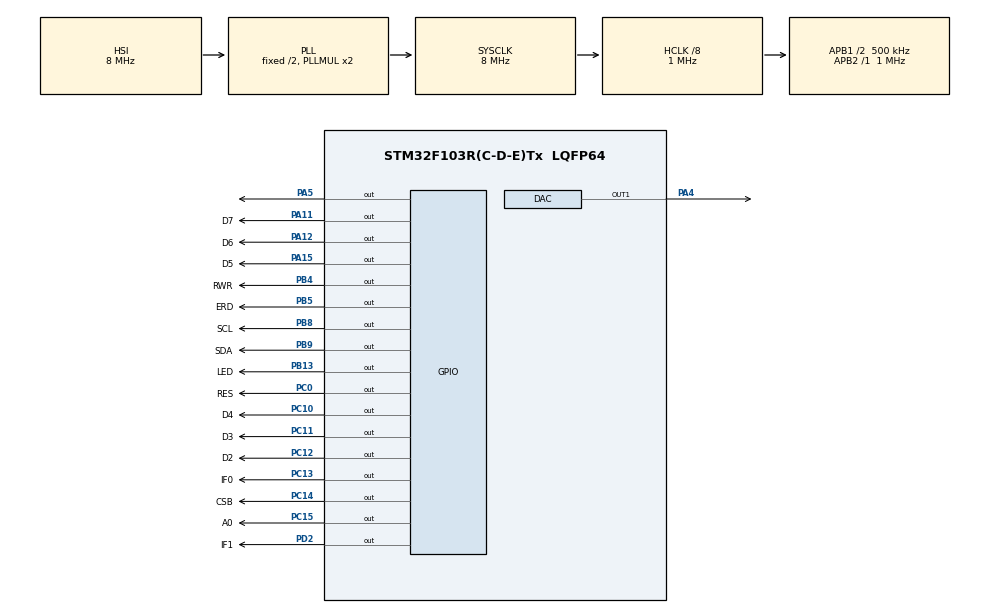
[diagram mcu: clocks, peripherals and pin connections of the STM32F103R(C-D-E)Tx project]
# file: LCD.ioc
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DAC.DAC_OutputBuffer=DAC_OUTPUTBUFFER_DISABLE
DAC.DAC_Trigger=DAC_TRIGGER_T6_TRGO
Dma.DAC_CH1.0.Direction=DMA_MEMORY_TO_PERIPH
Dma.DAC_CH1.0.Instance=DMA2_Channel3
Dma.DAC_CH1.0.MemDataAlignment=DMA_MDATAALIGN_WORD
Dma.DAC_CH1.0.MemInc=DMA_MINC_ENABLE
Dma.DAC_CH1.0.Mode=DMA_CIRCULAR
Dma.DAC_CH1.0.PeriphDataAlignment=DMA_PDATAALIGN_WORD
Dma.DAC_CH1.0.PeriphInc=DMA_PINC_DISABLE
Dma.DAC_CH1.0.Priority=DMA_PRIORITY_LOW
Dma.Request0=DAC_CH1
Mcu.Family=STM32F1
Mcu.Name=STM32F103R(C-D-E)Tx
Mcu.Package=LQFP64
NVIC.DMA2_Channel3_IRQn=true\:0\:0\:false\:false\:true\:false\:true
NVIC.PriorityGroup=NVIC_PRIORITYGROUP_4
PA11.GPIO_Label=D7
PA11.Signal=GPIO_Output
PA12.GPIO_Label=D6
PA12.Signal=GPIO_Output
PA13.Mode=Serial_Wire
PA13.Signal=SYS_JTMS-SWDIO
PA14.Mode=Serial_Wire
PA14.Signal=SYS_JTCK-SWCLK
PA15.GPIO_Label=D5
PA15.Signal=GPIO_Output
PA4.Signal=COMP_DAC1_group
PA5.Signal=GPIO_Output
PB13.GPIO_Label=LED
PB13.GPIO_PuPd=GPIO_PULLUP
PB13.Signal=GPIO_Output
PB3.Signal=SPI1_SCK
PB4.GPIO_Label=RWR
PB4.GPIO_ModeDefaultOutputPP=GPIO_MODE_OUTPUT_OD
PB4.GPIO_PuPd=GPIO_PULLUP
PB4.Signal=GPIO_Output
PB5.GPIO_Label=ERD
PB5.GPIO_ModeDefaultOutputPP=GPIO_MODE_OUTPUT_OD
PB5.GPIO_PuPd=GPIO_PULLUP
PB5.Signal=GPIO_Output
PB8.GPIO_Label=SCL
PB8.GPIO_ModeDefaultOutputPP=GPIO_MODE_OUTPUT_PP
PB8.GPIO_PuPd=GPIO_PULLUP
PB8.Signal=GPIO_Output
PB9.GPIO_Label=SDA
PB9.GPIO_ModeDefaultOutputPP=GPIO_MODE_OUTPUT_PP
PB9.GPIO_PuPd=GPIO_PULLUP
PB9.Signal=GPIO_Output
PC0.GPIO_Label=RES
PC0.GPIO_ModeDefaultOutputPP=GPIO_MODE_OUTPUT_PP
PC0.GPIO_PuPd=GPIO_PULLUP
PC0.Signal=GPIO_Output
PC10.GPIO_Label=D4
PC10.Signal=GPIO_Output
PC11.GPIO_Label=D3
PC11.Signal=GPIO_Output
PC12.GPIO_Label=D2
PC12.Signal=GPIO_Output
PC13-TAMPER-RTC.GPIO_Label=IF0
PC13-TAMPER-RTC.GPIO_ModeDefaultOutputPP=GPIO_MODE_OUTPUT_OD
PC13-TAMPER-RTC.GPIO_PuPd=GPIO_PULLUP
PC13-TAMPER-RTC.Signal=GPIO_Output
PC14-OSC32_IN.GPIO_Label=CSB
PC14-OSC32_IN.GPIO_ModeDefaultOutputPP=GPIO_MODE_OUTPUT_PP
PC14-OSC32_IN.GPIO_PuPd=GPIO_PULLUP
PC14-OSC32_IN.Signal=GPIO_Output
PC14-OSC32_IN.Stacked=true
PC15-OSC32_OUT.GPIO_Label=A0
PC15-OSC32_OUT.GPIO_ModeDefaultOutputPP=GPIO_MODE_OUTPUT_PP
PC15-OSC32_OUT.GPIO_PuPd=GPIO_PULLUP
PC15-OSC32_OUT.Signal=GPIO_Output
PD2.GPIO_Label=IF1
PD2.GPIO_ModeDefaultOutputPP=GPIO_MODE_OUTPUT_OD
PD2.GPIO_PuPd=GPIO_PULLUP
PD2.Signal=GPIO_Output
ProjectManager.HeapSize=0x200
ProjectManager.StackSize=0x400
ProjectManager.TargetToolchain=MDK-ARM V5.32
RCC.AHBCLKDivider=RCC_SYSCLK_DIV8
RCC.AHBFreq_Value=1000000
RCC.APB1CLKDivider=RCC_HCLK_DIV2
RCC.APB1Freq_Value=500000
RCC.APB1TimFreq_Value=1000000
RCC.APB2Freq_Value=1000000
RCC.APB2TimFreq_Value=1000000
RCC.HCLKFreq_Value=1000000
RCC.SYSCLKFreq_VALUE=8000000
RCC.SYSCLKSource=RCC_SYSCLKSOURCE_PLLCLK
RCC.USBFreq_Value=8000000
SH.COMP_DAC1_group.0=DAC_OUT1,DAC_OUT1
TIM2.Period=63
TIM2.Prescaler=99
TIM2.TIM_MasterOutputTrigger=TIM_TRGO_UPDATE
TIM4.Period=999
TIM4.TIM_MasterOutputTrigger=TIM_TRGO_UPDATE
TIM6.Period=999
TIM6.Prescaler=9
TIM6.TIM_MasterOutputTrigger=TIM_TRGO_UPDATE
VP_TIM2_VS_ClockSourceINT.Mode=Internal
VP_TIM4_VS_ClockSourceINT.Mode=Internal
VP_TIM6_VS_ClockSourceINT.Mode=Enable_Timer
board=custom

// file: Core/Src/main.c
/* USER CODE BEGIN Header */
/**
  ******************************************************************************
  * @file           : main.c
  * @brief          : Main program body
  ******************************************************************************
  * @attention
  *
  * <h2><center>&copy; Copyright (c) 2025 STMicroelectronics.
  * All rights reserved.</center></h2>
  *
  * This software component is licensed by ST under BSD 3-Clause license,
  * the "License"; You may not use this file except in compliance with the
  * License. You may obtain a copy of the License at:
  *                        opensource.org/licenses/BSD-3-Clause
  *
  ******************************************************************************
  */
/* USER CODE END Header */
#include "main.h"

/* USER CODE BEGIN Includes */
#include "ST75161.h"
#include "stdio.h"

/* USER CODE END Includes */

/* USER CODE BEGIN PTD */
extern const  uint8_t font5x7[][5] ;
extern const uint8_t font5x7_italic[][5];
extern const uint8_t font7x9[][7];
extern const uint8_t font5x7_small[][5];
extern unsigned char  logo[];
extern uint8_t dog_icon[16 * 16];
extern const unsigned char epd_bitmap_horse [];
extern const unsigned char grayhorse [];
extern const unsigned char image_data[];
extern const uint16_t font5x7_GRAY[][5];

/* USER CODE END PTD */

/* USER CODE BEGIN PM */
char LCDString[50],Lcd_char;
int number=0;
uint8_t grayLevel=1;
uint16_t font5x7_gray[96][5]; // Assuming 96 characters from space to ~
uint32_t sine_val[2]={0,4095};

/* USER CODE END PM */

DAC_HandleTypeDef hdac;
DMA_HandleTypeDef hdma_dac_ch1;

TIM_HandleTypeDef htim2;
TIM_HandleTypeDef htim4;
TIM_HandleTypeDef htim6;

void SystemClock_Config(void);
static void MX_GPIO_Init(void);
static void MX_TIM2_Init(void);
static void MX_DMA_Init(void);
static void MX_DAC_Init(void);
static void MX_TIM4_Init(void);
static void MX_TIM6_Init(void);

int main(void)
{

  /* MCU Configuration--------------------------------------------------------*/

  /* Reset of all peripherals, Initializes the Flash interface and the Systick. */
  HAL_Init();

  /* Configure the system clock */
  SystemClock_Config();

  /* USER CODE BEGIN SysInit */
	MX_DMA_Init();
  /* USER CODE END SysInit */

  /* Initialize all configured peripherals */
  MX_GPIO_Init();
  MX_TIM2_Init();
  MX_DMA_Init();
  MX_DAC_Init();
  MX_TIM4_Init();
  MX_TIM6_Init();
  /* USER CODE BEGIN 2 */

	HAL_TIM_Base_Start(&htim6);// Start for DAC DMA event
	HAL_DAC_Start_DMA(&hdac, DAC_CHANNEL_1,(uint32_t*) sine_val, 2, DAC_ALIGN_12B_R);

		LCD_SetInterfaceMode(0);//4 wire
		HAL_GPIO_WritePin(GPIOA, GPIO_PIN_5, GPIO_PIN_SET);

	HAL_Delay(500);

//	lcd_init(0);  // 1 = Grayscale Mode, 0 = Monochrome Mode
//	ST75161_clear();
//	lcd_draw_black_box();
//	Fill_BLACK();
//	ST75161_clear();
//	lcd_init(1);  // 1 = Grayscale Mode, 0 = Monochrome Mode
//	lcd_fill_gray(0);  // Black
//	lcd_fill_gray(1);  // Dark Gray
//	lcd_fill_gray(2);  // Light Gray
//	lcd_fill_gray(3);  // White
//
//
//
//
//
			lcd_init(0);  // 1 = Grayscale Mode, 0 = Monochrome Mode
      ST75161_clear();

//
//
//	for(char i=0;i<160;i++){
//		//ST75161_clear_area(10, 9,40, 1);
//		//sprintf(LCDString, "%d", i);
//		lcd_draw_char(10, 72, i,(uint8_t *) font5x7, 5,7);
//		Fill_8_row(0,i);
//	}
//	lcd_draw_black_box();
//	lcd_draw_rectangle(10,3,50,10);
//	lcd_draw_rectangle_border(80,0,30,5,1);
//
//	lcd_set_pixel(100, 75, 1);  // Turn ON pixel at (x=100, y=75)
//	lcd_set_pixel_gray(100, 100, grayLevel);
//
//	ST75161_clear();
	lcd_draw_char(0, 0, 'A', (uint8_t *)font5x7, 5, 7);
	lcd_draw_char(10, 0, 'B', (uint8_t *)font5x7, 5, 7);
	lcd_draw_char(20, 0, '0', (uint8_t *)font5x7, 5, 7);
	lcd_draw_char(30, 0, '2', (uint8_t *)font5x7, 5, 7);

//	lcd_draw_string_bold(10, 72, "Hello World",(uint8_t *) font5x7, 5,7);
//	lcd_draw_string_bold(10, 56, "ST75161 LCD", (uint8_t *)font5x7_small, 5, 7);

//	ST75161_clear();
//	lcd_draw_bitmap(0, 0, epd_bitmap_horse, 160, 125);
//	ST75161_clear();
	lcd_init(1);  // 1 = Grayscale Mode, 0 = Monochrome Mode
	lcd_fill_gray(0);  // White
	lcd_draw_bitmap_gray(0,0,image_data,160,160);
	lcd_fill_gray(0);  // White

//	lcd_set_pixel_gray(10, 20, 0);  // Black pixel
//	lcd_set_pixel_gray(11, 20, 1);  // Dark Gray pixel
//	lcd_set_pixel_gray(12, 20, 2);  // Light Gray pixel
//	lcd_set_pixel_gray(13, 20, 3);  // White pixel
//	lcd_set_pixel_gray2(10,21, 0);
//	lcd_set_pixel_gray2(11,21, 1);
//	lcd_set_pixel_gray2(12,21,2);
//	lcd_set_pixel_gray2(13,21, 3);

//lcd_draw_rect_gray(20, 30, 50, 40, 3); // Draw a BLACK rectangle at (20,30) with 50x40 size
//lcd_draw_rect_gray(10, 10, 20, 20, 2); // Medium gray rectangle
//lcd_draw_rect_gray(60, 50, 30, 15, 1); // Light gray rectangle
//lcd_draw_rect_gray(40, 70, 80, 50, 0); // White rectangle (invisible)
	convertFont(font5x7, font5x7_gray, 96);// change standart font to gray scale

//	lcd_draw_char_gray(0, 8, 'A', (uint16_t *)font5x7_gray, 5, 7,0);

//	lcd_draw_char_gray(5, 8, 'A', (uint16_t *)font5x7_gray, 5, 7,1);

//	lcd_draw_char_gray(10, 8, 'A', (uint16_t *)font5x7_gray, 5, 7,2);

//	lcd_draw_char_gray(15, 8, 'A', (uint16_t *)font5x7_gray, 5, 7,3);

//	lcd_draw_char_gray(27, 8, '@', (uint16_t *)font5x7_gray, 5, 7,grayLevel);
//	lcd_draw_char_gray(35, 8, '1', (uint16_t *)font5x7_gray, 5, 7,grayLevel);
//
//	lcd_draw_char_gray(43, 8, 'W', (uint16_t *)font5x7_gray, 5, 7,grayLevel);
//	lcd_draw_char_gray(50, 8, 'Q', (uint16_t *)font5x7_gray, 5, 7,grayLevel);
//	lcd_draw_char_gray(56, 8, '2', (uint16_t *)font5x7_gray, 5, 7,grayLevel);
//	lcd_draw_char_gray(61, 8, 'w', (uint16_t *)font5x7_gray, 5, 7,grayLevel);
//

	lcd_draw_string_gray(10, 56, "Petropargas", (uint16_t *)font5x7_gray, 5, 7, 3);  // White Text
	lcd_draw_string_gray(10, 64, "Electronic Shiraz.", (uint16_t *)font5x7_gray, 5, 7, 0);  // White Text
	lcd_draw_string_gray(10, 72, "Electronic Shiraz.", (uint16_t *)font5x7_gray, 5, 7, 1);  // White Text
	lcd_draw_string_gray(10, 80, "Electronic Shiraz.", (uint16_t *)font5x7_gray, 5, 7, 2);  // White Text
	lcd_draw_string_gray(10, 88, "Electronic Shiraz.", (uint16_t *)font5x7_gray, 5, 7, 3);  // White Text
//

//	for(char i=32;i<127;i++){
//		lcd_draw_char_gray(100, 8, i, (uint16_t *)font5x7_gray, 5, 7,grayLevel);
//	}

	//lcd_update_screen();  // Send buffer to LCD

  /* USER CODE END 2 */

  /* Infinite loop */
  while (1)
  {

  }
}

void SystemClock_Config(void)
{
  RCC_OscInitTypeDef RCC_OscInitStruct = {0};
  RCC_ClkInitTypeDef RCC_ClkInitStruct = {0};

  /** Initializes the RCC Oscillators according to the specified parameters
  * in the RCC_OscInitTypeDef structure.
  */
  RCC_OscInitStruct.OscillatorType = RCC_OSCILLATORTYPE_HSI;
  RCC_OscInitStruct.HSIState = RCC_HSI_ON;
  RCC_OscInitStruct.HSICalibrationValue = RCC_HSICALIBRATION_DEFAULT;
  RCC_OscInitStruct.PLL.PLLState = RCC_PLL_ON;
  RCC_OscInitStruct.PLL.PLLSource = RCC_PLLSOURCE_HSI_DIV2;
  RCC_OscInitStruct.PLL.PLLMUL = RCC_PLL_MUL2;
  if (HAL_RCC_OscConfig(&RCC_OscInitStruct) != HAL_OK)
  {
    Error_Handler();
  }
  /** Initializes the CPU, AHB and APB buses clocks
  */
  RCC_ClkInitStruct.ClockType = RCC_CLOCKTYPE_HCLK|RCC_CLOCKTYPE_SYSCLK
                              |RCC_CLOCKTYPE_PCLK1|RCC_CLOCKTYPE_PCLK2;
  RCC_ClkInitStruct.SYSCLKSource = RCC_SYSCLKSOURCE_PLLCLK;
  RCC_ClkInitStruct.AHBCLKDivider = RCC_SYSCLK_DIV8;
  RCC_ClkInitStruct.APB1CLKDivider = RCC_HCLK_DIV2;
  RCC_ClkInitStruct.APB2CLKDivider = RCC_HCLK_DIV1;

  if (HAL_RCC_ClockConfig(&RCC_ClkInitStruct, FLASH_LATENCY_0) != HAL_OK)
  {
    Error_Handler();
  }
}

static void MX_DAC_Init(void)
{

  DAC_ChannelConfTypeDef sConfig = {0};

  /** DAC Initialization
  */
  hdac.Instance = DAC;
  if (HAL_DAC_Init(&hdac) != HAL_OK)
  {
    Error_Handler();
  }
  /** DAC channel OUT1 config
  */
  sConfig.DAC_Trigger = DAC_TRIGGER_T6_TRGO;
  sConfig.DAC_OutputBuffer = DAC_OUTPUTBUFFER_DISABLE;
  if (HAL_DAC_ConfigChannel(&hdac, &sConfig, DAC_CHANNEL_1) != HAL_OK)
  {
    Error_Handler();
  }

}

static void MX_TIM2_Init(void)
{

  TIM_ClockConfigTypeDef sClockSourceConfig = {0};
  TIM_MasterConfigTypeDef sMasterConfig = {0};

  htim2.Instance = TIM2;
  htim2.Init.Prescaler = 99;
  htim2.Init.CounterMode = TIM_COUNTERMODE_UP;
  htim2.Init.Period = 63;
  htim2.Init.ClockDivision = TIM_CLOCKDIVISION_DIV1;
  htim2.Init.AutoReloadPreload = TIM_AUTORELOAD_PRELOAD_DISABLE;
  if (HAL_TIM_Base_Init(&htim2) != HAL_OK)
  {
    Error_Handler();
  }
  sClockSourceConfig.ClockSource = TIM_CLOCKSOURCE_INTERNAL;
  if (HAL_TIM_ConfigClockSource(&htim2, &sClockSourceConfig) != HAL_OK)
  {
    Error_Handler();
  }
  sMasterConfig.MasterOutputTrigger = TIM_TRGO_UPDATE;
  sMasterConfig.MasterSlaveMode = TIM_MASTERSLAVEMODE_DISABLE;
  if (HAL_TIMEx_MasterConfigSynchronization(&htim2, &sMasterConfig) != HAL_OK)
  {
    Error_Handler();
  }

}

static void MX_TIM4_Init(void)
{

  TIM_ClockConfigTypeDef sClockSourceConfig = {0};
  TIM_MasterConfigTypeDef sMasterConfig = {0};

  htim4.Instance = TIM4;
  htim4.Init.Prescaler = 0;
  htim4.Init.CounterMode = TIM_COUNTERMODE_UP;
  htim4.Init.Period = 999;
  htim4.Init.ClockDivision = TIM_CLOCKDIVISION_DIV1;
  htim4.Init.AutoReloadPreload = TIM_AUTORELOAD_PRELOAD_DISABLE;
  if (HAL_TIM_Base_Init(&htim4) != HAL_OK)
  {
    Error_Handler();
  }
  sClockSourceConfig.ClockSource = TIM_CLOCKSOURCE_INTERNAL;
  if (HAL_TIM_ConfigClockSource(&htim4, &sClockSourceConfig) != HAL_OK)
  {
    Error_Handler();
  }
  sMasterConfig.MasterOutputTrigger = TIM_TRGO_UPDATE;
  sMasterConfig.MasterSlaveMode = TIM_MASTERSLAVEMODE_DISABLE;
  if (HAL_TIMEx_MasterConfigSynchronization(&htim4, &sMasterConfig) != HAL_OK)
  {
    Error_Handler();
  }

}

static void MX_TIM6_Init(void)
{

  TIM_MasterConfigTypeDef sMasterConfig = {0};

  htim6.Instance = TIM6;
  htim6.Init.Prescaler = 9;
  htim6.Init.CounterMode = TIM_COUNTERMODE_UP;
  htim6.Init.Period = 999;
  htim6.Init.AutoReloadPreload = TIM_AUTORELOAD_PRELOAD_DISABLE;
  if (HAL_TIM_Base_Init(&htim6) != HAL_OK)
  {
    Error_Handler();
  }
  sMasterConfig.MasterOutputTrigger = TIM_TRGO_UPDATE;
  sMasterConfig.MasterSlaveMode = TIM_MASTERSLAVEMODE_DISABLE;
  if (HAL_TIMEx_MasterConfigSynchronization(&htim6, &sMasterConfig) != HAL_OK)
  {
    Error_Handler();
  }

}

static void MX_DMA_Init(void)
{

  /* DMA controller clock enable */
  __HAL_RCC_DMA2_CLK_ENABLE();

  /* DMA interrupt init */
  /* DMA2_Channel3_IRQn interrupt configuration */
  HAL_NVIC_SetPriority(DMA2_Channel3_IRQn, 0, 0);
  HAL_NVIC_EnableIRQ(DMA2_Channel3_IRQn);

}

static void MX_GPIO_Init(void)
{
  GPIO_InitTypeDef GPIO_InitStruct = {0};

  /* GPIO Ports Clock Enable */
  __HAL_RCC_GPIOC_CLK_ENABLE();
  __HAL_RCC_GPIOA_CLK_ENABLE();
  __HAL_RCC_GPIOB_CLK_ENABLE();
  __HAL_RCC_GPIOD_CLK_ENABLE();

  /*Configure GPIO pin Output Level */
  HAL_GPIO_WritePin(GPIOC, IF0_Pin|CSB_Pin|A0_Pin|RES_Pin
                          |D4_Pin|D3_Pin|D2_Pin, GPIO_PIN_RESET);

  /*Configure GPIO pin Output Level */
  HAL_GPIO_WritePin(GPIOA, GPIO_PIN_5|D7_Pin|D6_Pin|D5_Pin, GPIO_PIN_RESET);

  /*Configure GPIO pin Output Level */
  HAL_GPIO_WritePin(GPIOB, LED_Pin|RWR_Pin|ERD_Pin|SCL_Pin
                          |SDA_Pin, GPIO_PIN_RESET);

  /*Configure GPIO pin Output Level */
  HAL_GPIO_WritePin(IF1_GPIO_Port, IF1_Pin, GPIO_PIN_RESET);

  /*Configure GPIO pin : IF0_Pin */
  GPIO_InitStruct.Pin = IF0_Pin;
  GPIO_InitStruct.Mode = GPIO_MODE_OUTPUT_OD;
  GPIO_InitStruct.Pull = GPIO_PULLUP;
  GPIO_InitStruct.Speed = GPIO_SPEED_FREQ_LOW;
  HAL_GPIO_Init(IF0_GPIO_Port, &GPIO_InitStruct);

  /*Configure GPIO pins : CSB_Pin A0_Pin RES_Pin */
  GPIO_InitStruct.Pin = CSB_Pin|A0_Pin|RES_Pin;
  GPIO_InitStruct.Mode = GPIO_MODE_OUTPUT_PP;
  GPIO_InitStruct.Pull = GPIO_PULLUP;
  GPIO_InitStruct.Speed = GPIO_SPEED_FREQ_LOW;
  HAL_GPIO_Init(GPIOC, &GPIO_InitStruct);

  /*Configure GPIO pins : PA5 D7_Pin D6_Pin D5_Pin */
  GPIO_InitStruct.Pin = GPIO_PIN_5|D7_Pin|D6_Pin|D5_Pin;
  GPIO_InitStruct.Mode = GPIO_MODE_OUTPUT_PP;
  GPIO_InitStruct.Pull = GPIO_NOPULL;
  GPIO_InitStruct.Speed = GPIO_SPEED_FREQ_LOW;
  HAL_GPIO_Init(GPIOA, &GPIO_InitStruct);

  /*Configure GPIO pins : LED_Pin SCL_Pin SDA_Pin */
  GPIO_InitStruct.Pin = LED_Pin|SCL_Pin|SDA_Pin;
  GPIO_InitStruct.Mode = GPIO_MODE_OUTPUT_PP;
  GPIO_InitStruct.Pull = GPIO_PULLUP;
  GPIO_InitStruct.Speed = GPIO_SPEED_FREQ_LOW;
  HAL_GPIO_Init(GPIOB, &GPIO_InitStruct);

  /*Configure GPIO pins : D4_Pin D3_Pin D2_Pin */
  GPIO_InitStruct.Pin = D4_Pin|D3_Pin|D2_Pin;
  GPIO_InitStruct.Mode = GPIO_MODE_OUTPUT_PP;
  GPIO_InitStruct.Pull = GPIO_NOPULL;
  GPIO_InitStruct.Speed = GPIO_SPEED_FREQ_LOW;
  HAL_GPIO_Init(GPIOC, &GPIO_InitStruct);

  /*Configure GPIO pin : IF1_Pin */
  GPIO_InitStruct.Pin = IF1_Pin;
  GPIO_InitStruct.Mode = GPIO_MODE_OUTPUT_OD;
  GPIO_InitStruct.Pull = GPIO_PULLUP;
  GPIO_InitStruct.Speed = GPIO_SPEED_FREQ_LOW;
  HAL_GPIO_Init(IF1_GPIO_Port, &GPIO_InitStruct);

  /*Configure GPIO pin : PB3 */
  GPIO_InitStruct.Pin = GPIO_PIN_3;
  GPIO_InitStruct.Mode = GPIO_MODE_AF_PP;
  GPIO_InitStruct.Speed = GPIO_SPEED_FREQ_HIGH;
  HAL_GPIO_Init(GPIOB, &GPIO_InitStruct);

  /*Configure GPIO pins : RWR_Pin ERD_Pin */
  GPIO_InitStruct.Pin = RWR_Pin|ERD_Pin;
  GPIO_InitStruct.Mode = GPIO_MODE_OUTPUT_OD;
  GPIO_InitStruct.Pull = GPIO_PULLUP;
  GPIO_InitStruct.Speed = GPIO_SPEED_FREQ_LOW;
  HAL_GPIO_Init(GPIOB, &GPIO_InitStruct);

  /*Configure peripheral I/O remapping */
  __HAL_AFIO_REMAP_SPI1_ENABLE();

}

void Error_Handler(void)
{
  __disable_irq();
  while (1)
  {
  }
}

/************************ (C) COPYRIGHT STMicroelectronics *****END OF FILE****/
